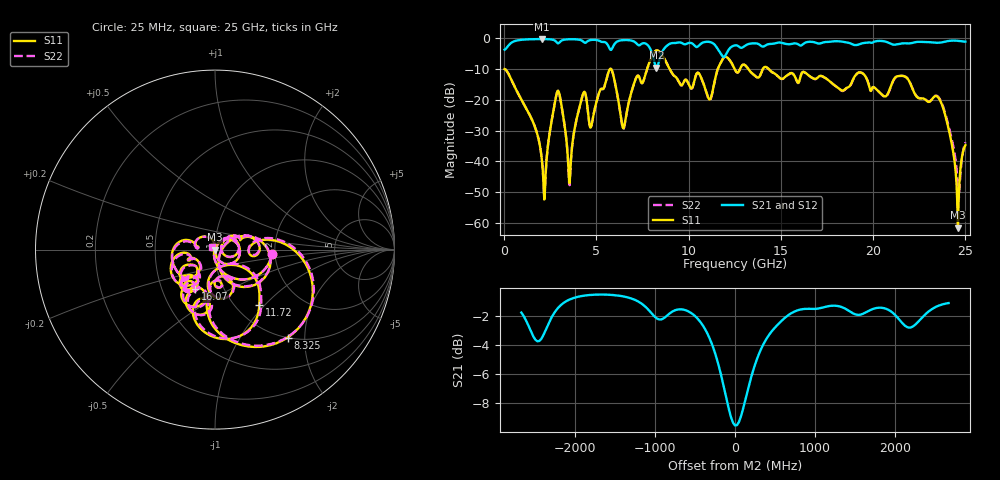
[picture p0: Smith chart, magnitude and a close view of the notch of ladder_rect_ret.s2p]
! RG_s4_pwr_n4: kisi's ladder with the plane pair as a finite cavity (rect) (Finite board 24 × 16 mm, via L1 → L4 through the GND/PWR pair L2/L3, four GND vias at 1 mm joined to L2 only (openings in the PWR plane L3))
# Hz S RI R 50
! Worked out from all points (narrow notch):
!   1000 points, 25 MHz to 25 GHz, reference 50 ohm
!   highest |S21| = -0.21 dB at 2.025 GHz (marker M1); lowest = -9.5 dB at 8.25 GHz (marker M2)
!   notch at M2: 8.2 dB deep, 447 MHz wide at half that depth
!   lowest |S11| = -61.6 dB at 24.6 GHz (marker M3), VSWR 1.00, Z = 49.9 + j0.0164 ohm
!   |S11| at or under -10 dB: 41.65 MHz to 5.73 GHz (5.688 GHz wide, 197 % of centre); 8.976 GHz to 11.58 GHz (2.6 GHz wide, 25.3 % of centre); 14.35 GHz to end of sweep (the widest 3 of 6)
!   |S22| runs from -51.9 to -3.9 dB; largest |S21 - S12| = 0
!   S11 on the Smith chart (normalised r, x): 25 MHz: 1.92, -0.10; 8.325 GHz: 1.00, -1.65; 11.72 GHz: 1.28, -0.93; 16.07 GHz: 0.73, -0.35; 25 GHz: 0.97, +0.02
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2.5e7  0.3169 -0.0232  0.6561 0.0212  0.6561 0.0212  0.3169 -0.0232
2.025e9  -0.00475 -0.011  0.964 -0.1527  0.964 -0.1527  -0.00479 -0.011
2.225e9  -0.00116 0.00427  0.9576 -0.184  0.9576 -0.184  -0.00133 0.0043
2.925e9  0.1374 -0.0299  0.8061 -0.2058  0.8061 -0.2058  0.1375 -0.0284
3.575e9  0.00493 0.00348  0.9257 -0.2893  0.9257 -0.2893  0.00455 0.00367
4.2e9  0.0802 0.066  0.8344 -0.4008  0.8344 -0.4008  0.0788 0.0674
4.725e9  0.0352 0.0136  0.8641 -0.387  0.8641 -0.387  0.0345 0.0145
5.775e9  0.2948 -0.1273  0.5628 -0.3259  0.5628 -0.3259  0.2968 -0.121
6.475e9  0.0335 -0.00969  0.8036 -0.4886  0.8036 -0.4886  0.0328 -0.00835
8.25e9  0.485 -0.4131  0.2566 -0.2137  0.2566 -0.2137  0.4962 -0.3987
8.325e9  0.4042 -0.4901  0.3305 -0.1407  0.3305 -0.1407  0.4175 -0.478
8.35e9  0.3731 -0.5081  0.3593 -0.1238  0.3593 -0.1238  0.3869 -0.4969
8.9e9  -0.0423 -0.3459  0.7453 -0.2724  0.7453 -0.2724  -0.0331 -0.3464
1.1125e10  0.0309 -0.097  0.5693 -0.6679  0.5693 -0.6679  0.0329 -0.094
1.1725e10  0.247 -0.308  0.3011 -0.4941  0.3011 -0.4941  0.258 -0.2966
1.2525e10  -0.1026 -0.2868  0.5878 -0.5004  0.5878 -0.5004  -0.0923 -0.2892
1.6075e10  -0.1104 -0.2214  0.4227 -0.637  0.4227 -0.637  -0.1004 -0.2243
1.6675e10  -0.1776 -0.1474  0.4311 -0.7673  0.4311 -0.7673  -0.1712 -0.1537
2.085e10  -0.0846 -0.1072  0.0642 -0.8445  0.0642 -0.8445  -0.0779 -0.109
2.3575e10  -0.0781 0.0696  -0.0294 -0.8515  -0.0294 -0.8515  -0.0839 0.0669
2.46e10  -0.000818 0.000164  -0.1629 -0.8994  -0.1629 -0.8994  -0.000808 0.00338
2.5e10  -0.0133 0.0127  -0.188 -0.8661  -0.188 -0.8661  -0.0143 0.0146
